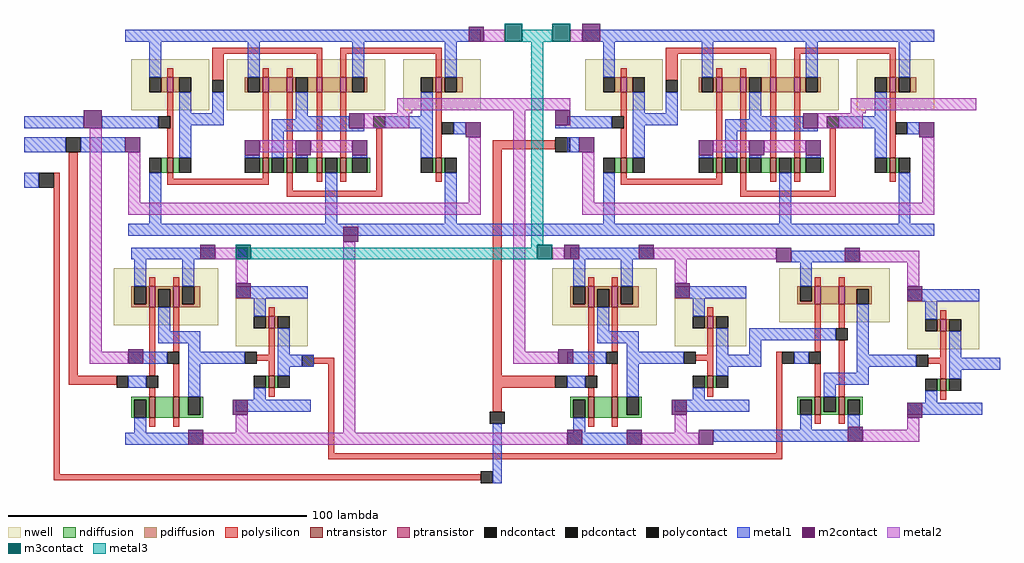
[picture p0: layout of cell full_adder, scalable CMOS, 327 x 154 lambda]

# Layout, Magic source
magic
tech scmos
<< polysilicon >>
rect 127 29 148 32
rect -20 -80 -18 21
rect -15 -47 -12 28
rect 67 -43 74 -41
rect -15 -50 1 -47
rect 72 -73 74 -43
rect 127 -47 130 29
rect 127 -51 148 -47
rect 127 -59 130 -51
rect 222 -73 224 -39
rect 72 -75 224 -73
rect -20 -82 123 -80
<< polycontact >>
rect -16 28 -11 33
rect -25 16 -20 21
rect 63 -44 67 -40
rect 1 -51 5 -47
rect 148 28 153 33
rect 148 -51 152 -47
rect 126 -63 131 -59
rect 224 -43 228 -39
rect 123 -83 127 -79
<< metal1 >>
rect 4 65 5 69
rect -30 36 -10 40
rect -4 36 2 40
rect 148 36 153 37
rect -30 28 -16 33
rect -11 28 0 33
rect -30 16 -25 21
rect 123 0 157 4
rect 213 -35 232 -31
rect 213 -40 217 -35
rect 210 -44 217 -40
rect 292 -45 297 -41
rect 4 -70 5 -66
rect 127 -83 130 -63
rect 201 -69 228 -65
<< m2contact >>
rect 119 65 124 70
rect 157 65 163 71
rect -10 36 -4 42
rect 148 37 153 42
rect 77 -2 82 3
rect 151 -8 156 -3
rect 222 -9 227 -4
rect 5 -43 10 -38
rect 149 -43 154 -38
rect 152 -70 157 -65
rect 196 -70 201 -65
<< metal2 >>
rect 124 65 131 69
rect 153 65 157 69
rect 127 42 153 46
rect 283 42 289 46
rect -8 -39 -4 36
rect -8 -43 5 -39
rect 77 -66 81 -2
rect 134 -39 138 42
rect 147 -8 151 -4
rect 188 -8 222 -4
rect 134 -43 149 -39
rect 40 -70 152 -66
rect 187 -70 196 -66
<< m3contact >>
rect 131 65 137 71
rect 147 65 153 71
rect 41 -8 46 -3
rect 142 -8 147 -3
<< metal3 >>
rect 137 65 147 69
rect 140 -3 144 65
rect 140 -4 142 -3
rect 46 -8 142 -4
use or  or_0
transform 1 0 222 0 1 -69
box 1 0 70 65
use and  and_1
transform 1 0 147 0 1 -70
box 0 0 67 67
use xor  xor_1
transform 1 0 170 0 1 32
box -18 -32 113 37
use and  and_0
transform 1 0 0 0 1 -70
box 0 0 67 67
use xor  xor_0
transform 1 0 18 0 1 32
box -18 -32 113 37
<< end >>

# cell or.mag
magic
tech scmos
<< metal1 >>
rect 5 60 6 64
rect 6 34 7 38
rect 6 26 7 30
rect 34 25 45 29
rect 69 24 70 28
rect 6 0 7 4
<< m2contact >>
rect 23 60 28 65
rect 44 47 49 52
rect 44 8 49 13
rect 24 0 29 5
<< metal2 >>
rect 28 60 48 64
rect 44 52 48 60
rect 44 4 48 8
rect 29 0 48 4
use inverter  inverter_0
transform 1 0 76 0 1 43
box -32 -34 -7 8
use nor  nor_0
transform 1 0 1 0 1 40
box 0 -40 37 24
<< end >>

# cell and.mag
magic
tech scmos
<< metal1 >>
rect 6 62 7 66
rect 5 27 6 31
rect 28 27 41 31
rect 66 26 67 30
rect 5 19 6 23
rect 5 0 6 4
<< m2contact >>
rect 29 62 34 67
rect 41 49 46 54
rect 40 10 45 15
rect 25 0 30 5
<< metal2 >>
rect 34 62 45 66
rect 41 54 45 62
rect 41 4 45 10
rect 30 0 45 4
use nand  nand_0
transform 1 0 18 0 1 40
box -18 -40 17 26
use inverter  inverter_0
transform 1 0 73 0 1 45
box -32 -34 -7 8
<< end >>

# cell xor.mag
magic
tech scmos
<< nwell >>
rect -12 10 14 27
rect 20 10 73 27
rect 79 10 105 27
<< ntransistor >>
rect 0 -11 2 -6
rect 32 -11 34 -6
rect 40 -11 42 -6
rect 50 -11 52 -6
rect 58 -11 60 -6
rect 90 -11 92 -6
<< ptransistor >>
rect 0 16 2 21
rect 32 16 34 21
rect 40 16 42 21
rect 50 16 52 21
rect 58 16 60 21
rect 90 16 92 21
<< ndiffusion >>
rect -2 -11 0 -6
rect 2 -11 4 -6
rect 31 -11 32 -6
rect 34 -11 35 -6
rect 39 -11 40 -6
rect 42 -11 43 -6
rect 47 -11 50 -6
rect 52 -11 53 -6
rect 57 -11 58 -6
rect 60 -11 62 -6
rect 67 -11 68 -6
rect 89 -11 90 -6
rect 92 -11 93 -6
<< pdiffusion >>
rect -2 16 0 21
rect 2 16 4 21
rect 26 16 27 21
rect 31 16 32 21
rect 34 16 40 21
rect 42 16 43 21
rect 47 16 50 21
rect 52 16 58 21
rect 60 16 62 21
rect 66 16 67 21
rect 89 16 90 21
rect 92 16 93 21
rect 97 16 99 21
<< ndcontact >>
rect -6 -11 -2 -6
rect 4 -11 8 -6
rect 26 -11 31 -6
rect 35 -11 39 -6
rect 43 -11 47 -6
rect 53 -11 57 -6
rect 62 -11 67 -6
rect 85 -11 89 -6
rect 93 -11 97 -6
<< pdcontact >>
rect -6 16 -2 21
rect 4 16 8 21
rect 27 16 31 21
rect 43 16 47 21
rect 62 16 66 21
rect 85 16 89 21
rect 93 16 97 21
<< polysilicon >>
rect 15 29 52 31
rect 0 21 2 24
rect 15 20 19 29
rect 32 21 34 24
rect 40 21 42 24
rect 50 21 52 29
rect 58 29 92 31
rect 58 21 60 29
rect 90 21 92 29
rect 0 8 2 16
rect 1 4 2 8
rect 0 -6 2 4
rect 32 -6 34 16
rect 40 -6 42 16
rect 50 -6 52 16
rect 58 -6 60 16
rect 0 -13 2 -11
rect 32 -13 34 -11
rect 0 -15 34 -13
rect 40 -17 42 -11
rect 50 -14 52 -11
rect 58 -14 60 -11
rect 70 -17 72 4
rect 90 -6 92 16
rect 90 -14 92 -11
rect 40 -19 72 -17
<< polycontact >>
rect 15 16 19 20
rect -3 4 1 8
rect 69 4 73 8
rect 92 2 96 6
<< metal1 >>
rect -13 33 105 37
rect -6 21 -2 33
rect 27 21 31 33
rect 62 21 66 33
rect 93 21 97 33
rect 4 9 8 16
rect 15 9 19 16
rect -18 4 -3 8
rect 4 5 19 9
rect 43 8 47 16
rect 43 7 61 8
rect -18 -4 -14 1
rect 4 -6 8 5
rect 35 4 61 7
rect 85 8 89 16
rect 73 4 89 8
rect 35 3 66 4
rect 26 -6 31 -5
rect 35 -6 39 3
rect 43 -6 47 -5
rect 62 -6 67 -5
rect 85 -6 89 4
rect 96 2 100 6
rect -6 -28 -2 -11
rect 53 -28 57 -11
rect 93 -28 97 -11
rect -13 -32 105 -28
<< m2contact >>
rect -14 -4 -9 1
rect 61 4 66 9
rect 26 -5 31 0
rect 43 -5 48 0
rect 62 -5 67 0
rect 100 1 105 6
<< metal2 >>
rect 77 10 113 14
rect 77 9 82 10
rect 66 4 81 9
rect -13 -21 -9 -4
rect 31 -4 43 0
rect 48 -4 62 0
rect 101 -21 105 1
rect -13 -25 105 -21
<< end >>

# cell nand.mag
magic
tech scmos
<< nwell >>
rect -18 0 17 19
<< ntransistor >>
rect -6 -31 -4 -24
rect 2 -31 4 -24
<< ptransistor >>
rect -6 6 -4 13
rect 2 6 4 13
<< ndiffusion >>
rect -12 -25 -6 -24
rect -12 -31 -11 -25
rect -7 -31 -6 -25
rect -4 -31 2 -24
rect 4 -30 7 -24
rect 11 -30 12 -24
rect 4 -31 12 -30
<< pdiffusion >>
rect -12 7 -11 13
rect -7 7 -6 13
rect -12 6 -6 7
rect -4 12 2 13
rect -4 6 -3 12
rect 1 6 2 12
rect 4 7 5 13
rect 9 7 11 13
rect 4 6 11 7
<< ndcontact >>
rect -11 -31 -7 -25
rect 7 -30 11 -24
<< pdcontact >>
rect -11 7 -7 13
rect -3 6 1 12
rect 5 7 9 13
<< polysilicon >>
rect -6 13 -4 16
rect 2 13 4 16
rect -6 -17 -4 6
rect 2 -9 4 6
rect -6 -24 -4 -21
rect 2 -24 4 -13
rect -6 -34 -4 -31
rect 2 -34 4 -31
<< polycontact >>
rect 0 -13 4 -9
rect -7 -21 -3 -17
<< metal1 >>
rect -11 22 16 26
rect -11 13 -7 22
rect 5 13 9 22
rect -3 -2 1 6
rect -3 -6 11 -2
rect 7 -9 11 -6
rect -12 -13 0 -9
rect 7 -13 14 -9
rect -12 -21 -7 -17
rect 7 -24 11 -13
rect -11 -36 -7 -31
rect -12 -40 12 -36
<< end >>

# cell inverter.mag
magic
tech scmos
<< nwell >>
rect -32 -12 -8 4
<< ntransistor >>
rect -21 -26 -19 -22
<< ptransistor >>
rect -21 -6 -19 -2
<< ndiffusion >>
rect -22 -26 -21 -22
rect -19 -26 -18 -22
<< pdiffusion >>
rect -22 -6 -21 -2
rect -19 -6 -18 -2
<< ndcontact >>
rect -26 -26 -22 -22
rect -18 -26 -14 -22
<< pdcontact >>
rect -26 -6 -22 -2
rect -18 -6 -14 -2
<< polysilicon >>
rect -21 -2 -19 1
rect -21 -15 -19 -6
rect -25 -17 -19 -15
rect -21 -22 -19 -17
rect -21 -29 -19 -26
<< polycontact >>
rect -29 -18 -25 -14
<< metal1 >>
rect -32 4 -8 8
rect -26 -2 -22 4
rect -32 -18 -29 -14
rect -18 -15 -14 -6
rect -18 -19 -7 -15
rect -18 -22 -14 -19
rect -26 -30 -22 -26
rect -32 -34 -7 -30
<< end >>

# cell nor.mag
magic
tech scmos
<< nwell >>
rect 0 0 37 18
<< ntransistor >>
rect 12 -31 14 -25
rect 20 -31 22 -25
<< ptransistor >>
rect 12 6 14 12
rect 20 6 22 12
<< ndiffusion >>
rect 6 -26 12 -25
rect 6 -31 7 -26
rect 11 -31 12 -26
rect 14 -30 15 -25
rect 19 -30 20 -25
rect 14 -31 20 -30
rect 22 -26 28 -25
rect 22 -31 23 -26
rect 27 -31 28 -26
<< pdiffusion >>
rect 6 7 7 12
rect 11 7 12 12
rect 6 6 12 7
rect 14 6 20 12
rect 22 11 31 12
rect 22 6 26 11
rect 30 6 31 11
<< ndcontact >>
rect 7 -31 11 -26
rect 15 -30 19 -25
rect 23 -31 27 -26
<< pdcontact >>
rect 7 7 11 12
rect 26 6 30 11
<< polysilicon >>
rect 12 12 14 15
rect 20 12 22 15
rect 12 -10 14 6
rect 20 -2 22 6
rect 12 -25 14 -14
rect 20 -25 22 -6
rect 12 -34 14 -31
rect 20 -34 22 -31
<< polycontact >>
rect 19 -6 23 -2
rect 10 -14 14 -10
<< metal1 >>
rect 5 20 27 24
rect 7 12 11 20
rect 6 -6 19 -2
rect 6 -14 10 -10
rect 26 -11 30 6
rect 26 -15 34 -11
rect 26 -17 30 -15
rect 15 -21 30 -17
rect 15 -25 19 -21
rect 7 -36 11 -31
rect 23 -36 27 -31
rect 6 -40 28 -36
<< end >>
